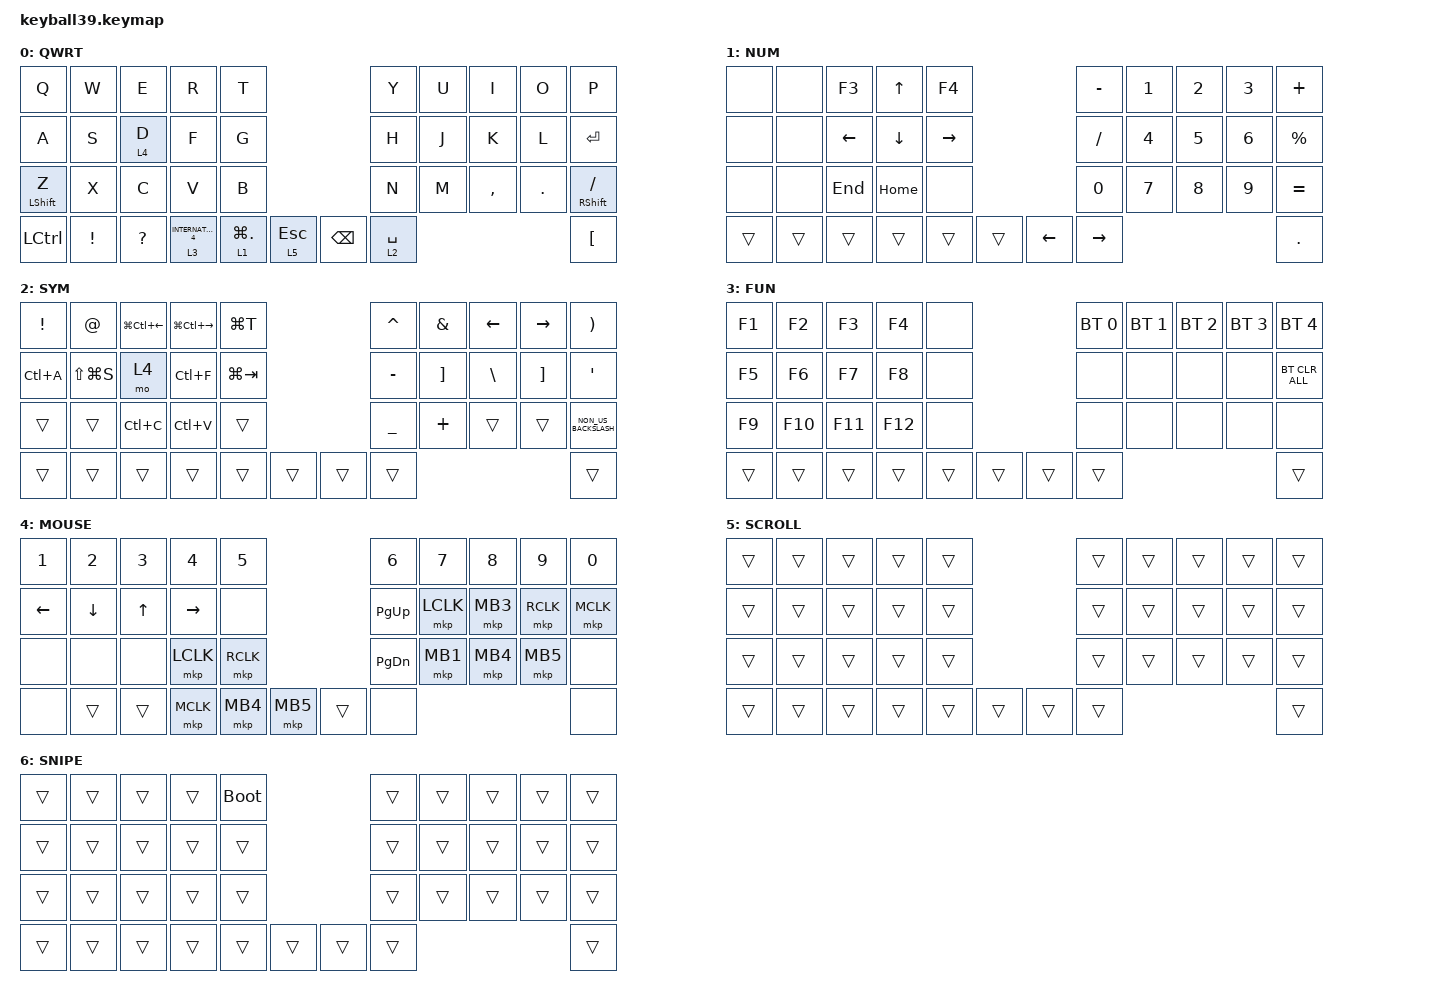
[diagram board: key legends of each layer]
#define DEFAULT 0
#define NUM     1
#define SYM     2
#define FUN     3
#define MOUSE   4
#define SCROLL  5
#define SNIPE   6

#include <behaviors/mouse_keys.dtsi>
#include <dt-bindings/zmk/mouse.h>
#include <behaviors.dtsi>
#include <dt-bindings/zmk/bt.h>
#include <dt-bindings/zmk/keys.h>
#include <dt-bindings/zmk/pointing.h>

&lt {
    tapping-term-ms = <240>;
    flavor = "balanced";
    quick-tap-ms = <150>;
};

&mt {
    tapping-term-ms = <200>;
    flavor = "tap-preferred";
    quick-tap-ms = <150>;
};

&caps_word { continue-list = <UNDERSCORE MINUS>; };

/ {
    // custom shift using mod-morph 

    behaviors {
        cmqus: comma_question {
            compatible = "zmk,behavior-mod-morph";
            label = "COMMA_QUESTION";
            #binding-cells = <0>;
            bindings = <&kp COMMA>, <&kp QUESTION>;

            mods = <(MOD_LSFT|MOD_RSFT)>;
        };

        dtsmi: dot_semi {
            compatible = "zmk,behavior-mod-morph";
            label = "DOT_SEMI";
            #binding-cells = <0>;
            bindings = <&kp DOT>, <&kp SEMI>;

            mods = <(MOD_LSFT|MOD_RSFT)>;
        };
    };

    macros {
        Hiragana: Hiragana {
            compatible = "zmk,behavior-macro";
            #binding-cells = <0>;
            bindings = <&kp LC(SPACE)>;
            label = "HIRAGANA";
        };
    };

    combos {
        compatible = "zmk,combos";

        scroll {
            bindings = <&lt 5 K_PP>;
            key-positions = <17 18>;
        };

        tab {
            bindings = <&kp TAB>;
            key-positions = <13 12>;
        };

        tab2 {
            bindings = <&kp LS(TAB)>;
            key-positions = <12 11>;
        };

        browsertab {
            bindings = <&kp LC(TAB)>;
            key-positions = <2 3>;
        };

        browsertab1 {
            bindings = <&kp LS(LC(TAB))>;
            key-positions = <2 1>;
        };

        browserout {
            bindings = <&kp LC(W)>;
            key-positions = <3 4>;
        };

        task {
            bindings = <&kp RC(RA(DELETE))>;
            key-positions = <26 27 28>;
        };

        underbar {
            bindings = <&kp MINUS>;
            key-positions = <16 17>;
        };
    };

    keymap {
        compatible = "zmk,keymap";

        default_layer {
            label = "QWRT";
            bindings = <
&kp Q             &kp W            &kp E         &kp R                  &kp T                                          &kp Y        &kp U  &kp I      &kp O    &kp P
&kp A             &kp S            &lt 4 D       &kp F                  &kp G                                          &kp H        &kp J  &kp K      &kp L    &kp ENTER
&mt LEFT_SHIFT Z  &kp X            &kp C         &kp V                  &kp B                                          &kp N        &kp M  &kp COMMA  &kp DOT  &mt RIGHT_SHIFT SLASH
&kp LCTRL         &kp EXCLAMATION  &kp QUESTION  &lt 3 INTERNATIONAL_4  &lt 1 LG(PERIOD)  &lt 5 ESCAPE  &kp BACKSPACE  &lt 2 SPACE                             &kp LEFT_BRACKET
            >;
        };

        number_layer {
            label = "NUM";
            bindings = <
&none   &none   &kp F3    &kp UP_ARROW  &kp F4                       &kp MINUS  &kp NUMBER_1  &kp NUMBER_2  &kp NUMBER_3  &kp PLUS
&none   &none   &kp LEFT  &kp DOWN      &kp RIGHT                    &kp SLASH  &kp NUMBER_4  &kp N5        &kp NUMBER_6  &kp PERCENT
&none   &none   &kp END   &kp HOME      &none                        &kp N0     &kp N7        &kp N8        &kp N9        &kp EQUAL
&trans  &trans  &trans    &trans        &trans     &trans  &kp LEFT  &kp RIGHT                                            &kp PERIOD
            >;
        };

        symbol_layer {
            label = "SYM";
            bindings = <
&kp EXCLAMATION  &kp AT_SIGN    &kp LG(LC(LEFT))  &kp LG(LC(RIGHT))  &kp LG(T)                    &kp CARET       &kp AMPERSAND      &kp LEFT       &kp RIGHT          &kp RIGHT_PARENTHESIS
&kp LC(A)        &kp LS(LG(S))  &mo 4             &kp LC(F)          &kp LG(TAB)                  &kp MINUS       &kp RIGHT_BRACKET  &kp BACKSLASH  &kp RIGHT_BRACKET  &kp SQT
&trans           &trans         &kp LC(C)         &kp LC(V)          &trans                       &kp UNDERSCORE  &kp PLUS           &trans         &trans             &kp NON_US_BACKSLASH
&trans           &trans         &trans            &trans             &trans       &trans  &trans  &trans                                                               &trans
            >;
        };

        function_layer {
            label = "FUN";
            bindings = <
&kp F1  &kp F2   &kp F3   &kp F4   &none                   &bt BT_SEL 0  &bt BT_SEL 1  &bt BT_SEL 2  &bt BT_SEL 3  &bt BT_SEL 4
&kp F5  &kp F6   &kp F7   &kp F8   &none                   &none         &none         &none         &none         &bt BT_CLR_ALL
&kp F9  &kp F10  &kp F11  &kp F12  &none                   &none         &none         &none         &none         &none
&trans  &trans   &trans   &trans   &trans  &trans  &trans  &trans                                                  &trans
            >;
        };

        mouse_layer {
            label = "MOUSE";
            bindings = <
&kp N1          &kp N2          &kp N3        &kp N4     &kp N5                       &kp N6         &kp N7     &kp N8    &kp N9     &kp N0
&kp LEFT_ARROW  &kp DOWN_ARROW  &kp UP_ARROW  &kp RIGHT  &none                        &kp PAGE_UP    &mkp LCLK  &mkp MB3  &mkp RCLK  &mkp MCLK
&none           &none           &none         &mkp LCLK  &mkp RCLK                    &kp PAGE_DOWN  &mkp MB1   &mkp MB4  &mkp MB5   &none
&none           &trans          &trans        &mkp MCLK  &mkp MB4   &mkp MB5  &trans  &none                                          &none
            >;
        };

        scroll_layer {
            label = "SCROLL";
            bindings = <
&trans  &trans  &trans  &trans  &trans                  &trans  &trans  &trans  &trans  &trans
&trans  &trans  &trans  &trans  &trans                  &trans  &trans  &trans  &trans  &trans
&trans  &trans  &trans  &trans  &trans                  &trans  &trans  &trans  &trans  &trans
&trans  &trans  &trans  &trans  &trans  &trans  &trans  &trans                          &trans
            >;
        };

        snipe_layer {
            label = "SNIPE";
            bindings = <
&trans  &trans  &trans  &trans  &bootloader                  &trans  &trans  &trans  &trans  &trans
&trans  &trans  &trans  &trans  &trans                       &trans  &trans  &trans  &trans  &trans
&trans  &trans  &trans  &trans  &trans                       &trans  &trans  &trans  &trans  &trans
&trans  &trans  &trans  &trans  &trans       &trans  &trans  &trans                          &trans
            >;
        };
    };
};
